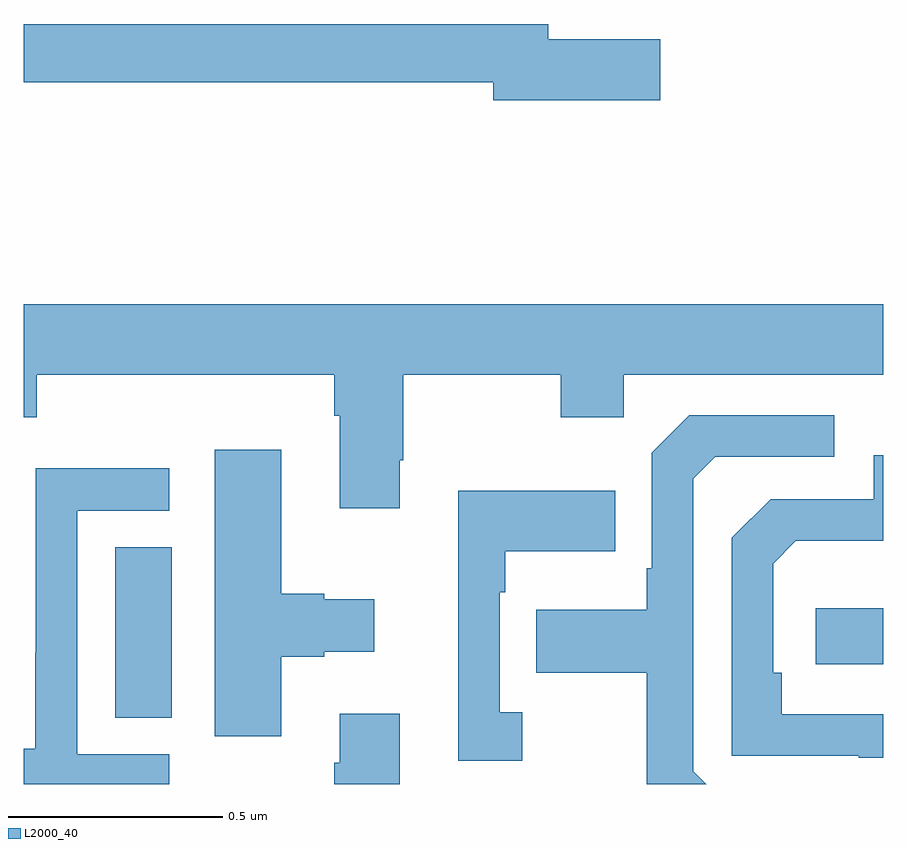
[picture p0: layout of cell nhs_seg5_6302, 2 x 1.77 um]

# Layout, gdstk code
import gdstk
lib = gdstk.Library(unit=1e-6, precision=1e-09)
def R(c, l, rs):  # rectangles x0, y0, x1, y1
    for r in rs: c.add(gdstk.rectangle(r[:2], r[2:], *l))
def P(c, l, *ps):  # polygons
    for p in ps: c.add(gdstk.Polygon(p, *l))
L2000_40 = (2000, 40)

nhs_seg5_6302 = lib.new_cell('nhs_seg5_6302')
R(nhs_seg5_6302, L2000_40, [(194.213,863.953,194.344,864.35), (195.843,864.078,196,864.208)])
P(nhs_seg5_6302, L2000_40, [(195.481,865.532),(195.22,865.532),(195.22,865.568),(194,865.568),(194,865.432),(195.092,865.432),(195.092,865.39),(195.481,865.39)],
  [(194.875,864.553),(194.883,864.553),(194.883,864.752),(195.25,864.752),(195.25,864.653),(195.396,864.653),(195.396,864.752),(196,864.752),(196,864.916),(194,864.916),(194,864.653),(194.03,864.653),(194.03,864.752),(194.723,864.752),(194.723,864.656),(194.735,864.656),(194.735,864.441),(194.875,864.441)],
  [(195.558,863.829),(195.558,864.51),(195.609,864.561),(195.886,864.561),(195.886,864.657),(195.549,864.657),(195.462,864.57),(195.462,864.301),(195.45,864.301),(195.45,864.205),(195.193,864.205),(195.193,864.058),(195.45,864.058),(195.45,863.799),(195.588,863.799)],
  [(194.599,864.095),(194.699,864.095),(194.699,864.107),(194.815,864.107),(194.815,864.229),(194.699,864.229),(194.699,864.242),(194.599,864.242),(194.599,864.577),(194.444,864.577),(194.444,863.91),(194.599,863.91)],
  [(196,863.961),(195.764,863.961),(195.764,864.058),(195.744,864.058),(195.744,864.312),(195.797,864.365),(196,864.365),(196,864.564),(195.978,864.564),(195.978,864.462),(195.738,864.462),(195.648,864.372),(195.648,863.865),(195.943,863.865),(195.943,863.86),(196,863.86)],
  [(194.338,863.868),(194.124,863.868),(194.124,864.435),(194.338,864.435),(194.338,864.534),(194.028,864.534),(194.028,864.104),(194.026,864.104),(194.026,863.881),(194,863.881),(194,863.799),(194.338,863.799)],
  [(195.16,863.966),(195.108,863.966),(195.108,864.245),(195.121,864.245),(195.121,864.341),(195.377,864.341),(195.377,864.481),(195.011,864.481),(195.011,863.853),(195.16,863.853)],
  [(194.875,863.962),(194.735,863.962),(194.735,863.849),(194.723,863.849),(194.723,863.799),(194.875,863.799)])

lib.write_gds('nhs_seg5_6302.gds')
